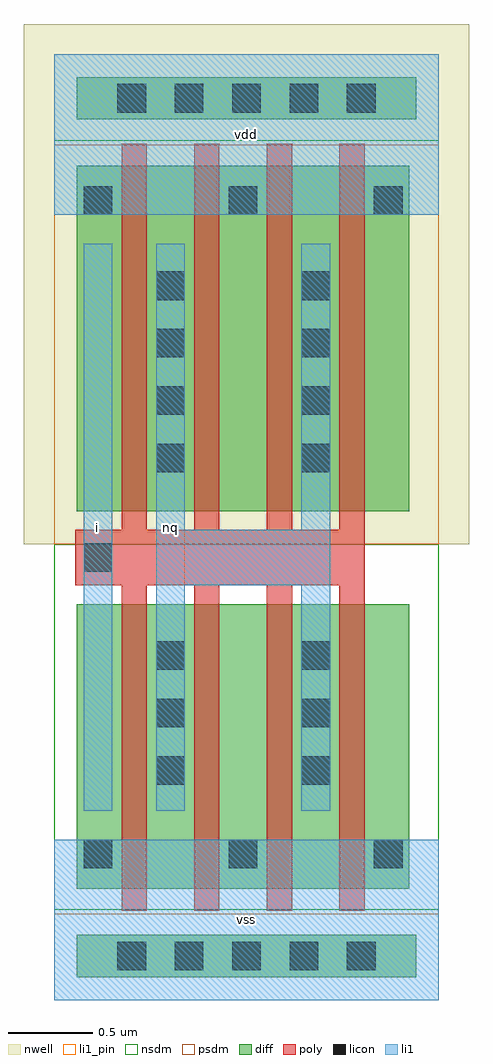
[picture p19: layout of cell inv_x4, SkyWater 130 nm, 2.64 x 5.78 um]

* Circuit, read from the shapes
.subckt inv_x4 i nq vdd vss
XM1 nq i vss VSUBS sky130_fd_pr__nfet_01v8 w=1.685 l=0.15 m=4
XM2 nq i vdd n1 sky130_fd_pr__pfet_01v8 w=2.045 l=0.15 m=4
.ends

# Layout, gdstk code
import gdstk
lib = gdstk.Library(unit=1e-6, precision=1e-09)
def R(c, l, rs):  # rectangles x0, y0, x1, y1
    for r in rs: c.add(gdstk.rectangle(r[:2], r[2:], *l))
def A(c, l, x, y, w, h, nx, ny, dx, dy):  # array of equal rectangles
    R(c, l, [(x+i*dx, y+j*dy, x+i*dx+w, y+j*dy+h) for i in range(nx) for j in range(ny)])
def P(c, l, *ps):  # polygons
    for p in ps: c.add(gdstk.Polygon(p, *l))
nwell = (64, 20)
diff = (65, 20)
poly = (66, 20)
licon = (66, 44)
li1_pin = (67, 16)
li1 = (67, 20)
nsdm = (93, 44)
psdm = (94, 20)

inv_x4 = lib.new_cell('inv_x4')
R(inv_x4, nwell, [(-0.18,2.7,2.46,5.78)])
R(inv_x4, diff, [(0.135,0.135,2.145,0.385), (0.135,0.66,2.105,2.345), (0.135,2.895,2.105,4.94), (0.135,5.215,2.145,5.465)])
P(inv_x4, poly, [(0.4,0.53),(0.4,2.455),(0.125,2.455),(0.125,2.785),(0.4,2.785),(0.4,5.07),(0.55,5.07),(0.55,2.785),(0.83,2.785),(0.83,5.07),(0.98,5.07),(0.98,2.785),(1.26,2.785),(1.26,5.07),(1.41,5.07),(1.41,2.785),(1.69,2.785),(1.69,5.07),(1.84,5.07),(1.84,0.53),(1.69,0.53),(1.69,2.455),(1.41,2.455),(1.41,0.53),(1.26,0.53),(1.26,2.455),(0.98,2.455),(0.98,0.53),(0.83,0.53),(0.83,2.455),(0.55,2.455),(0.55,0.53)])
A(inv_x4, licon, 0.375, 0.175, 0.17, 0.17, 5, 2, 0.34, 5.08)
A(inv_x4, licon, 0.175, 0.78, 0.17, 0.17, 3, 2, 0.86, 3.87)
A(inv_x4, licon, 0.605, 1.275, 0.17, 0.17, 1, 3, 0, 0.34)
A(inv_x4, licon, 1.465, 1.275, 0.17, 0.17, 1, 3, 0, 0.34)
A(inv_x4, licon, 0.605, 3.125, 0.17, 0.17, 1, 4, 0, 0.34)
A(inv_x4, licon, 1.465, 3.125, 0.17, 0.17, 1, 4, 0, 0.34)
R(inv_x4, licon, [(0.175,2.535,0.345,2.705)])
R(inv_x4, li1_pin, [(0,0,2.28,0.95), (0.175,1.12,0.345,4.48), (0.605,1.12,0.775,4.48), (0,4.65,2.28,5.6)])
R(inv_x4, li1, [(0,0,2.28,0.95), (0.175,1.12,0.345,4.48), (0,4.65,2.28,5.6)])
P(inv_x4, li1, [(0.605,1.12),(0.605,4.48),(0.775,4.48),(0.775,2.785),(1.465,2.785),(1.465,4.48),(1.635,4.48),(1.635,1.12),(1.465,1.12),(1.465,2.455),(0.775,2.455),(0.775,1.12)])
R(inv_x4, nsdm, [(0,0.535,2.28,2.7), (0,5.09,2.28,5.6)])
R(inv_x4, psdm, [(0,0,2.28,0.51), (0,2.7,2.28,5.065)])
inv_x4.add(gdstk.Label('vss', (1.14,0.475), layer=67, texttype=16))
inv_x4.add(gdstk.Label('vdd', (1.14,5.125), layer=67, texttype=16))
inv_x4.add(gdstk.Label('nq', (0.69,2.8), layer=67, texttype=16))
inv_x4.add(gdstk.Label('i', (0.26,2.8), layer=67, texttype=16))

lib.write_gds('inv_x4.gds')
